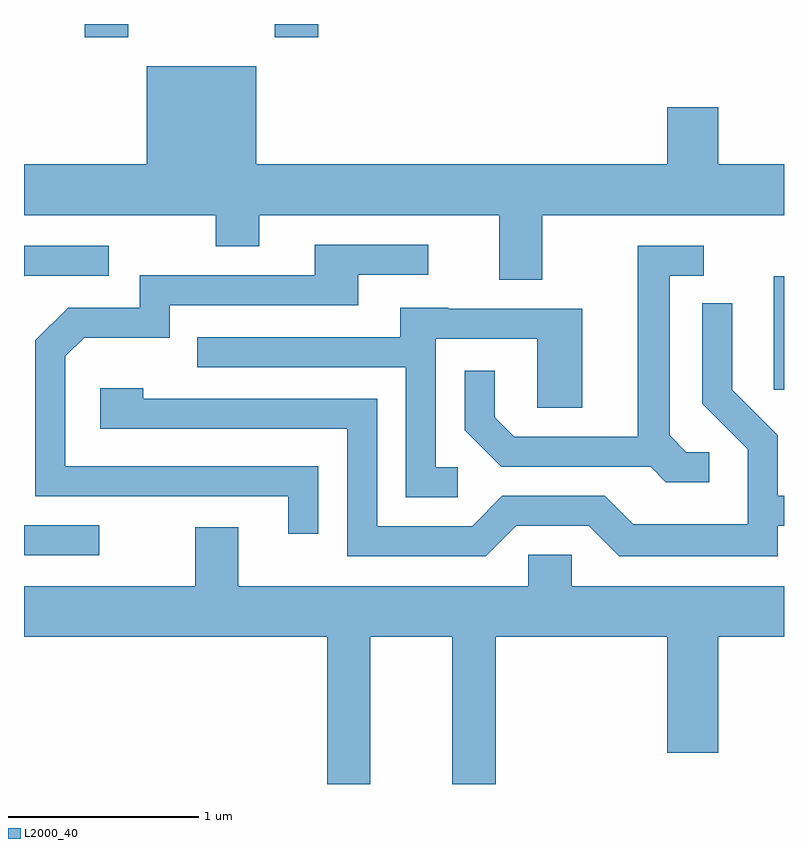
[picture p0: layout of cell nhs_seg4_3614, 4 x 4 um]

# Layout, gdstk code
import gdstk
lib = gdstk.Library(unit=1e-6, precision=1e-09)
def R(c, l, rs):  # rectangles x0, y0, x1, y1
    for r in rs: c.add(gdstk.rectangle(r[:2], r[2:], *l))
def P(c, l, *ps):  # polygons
    for p in ps: c.add(gdstk.Polygon(p, *l))
L2000_40 = (2000, 40)

nhs_seg4_3614 = lib.new_cell('nhs_seg4_3614')
R(nhs_seg4_3614, L2000_40, [(291.611,1275.186,292.008,1275.344), (295.556,1276.056,295.611,1276.654), (291.931,1277.911,292.159,1277.982), (292.931,1277.911,293.159,1277.982)])
P(nhs_seg4_3614, L2000_40, [(294.339,1276.976),(295.611,1276.976),(295.611,1277.244),(295.264,1277.244),(295.264,1277.544),(294.996,1277.544),(294.996,1277.244),(292.834,1277.244),(292.834,1277.759),(292.256,1277.759),(292.256,1277.244),(291.611,1277.244),(291.611,1276.976),(292.621,1276.976),(292.621,1276.811),(292.849,1276.811),(292.849,1276.976),(294.111,1276.976),(294.111,1276.636),(294.339,1276.636)],
  [(293.159,1275.654),(291.829,1275.654),(291.829,1276.234),(291.927,1276.331),(292.379,1276.331),(292.379,1276.501),(293.369,1276.501),(293.369,1276.661),(293.738,1276.661),(293.738,1276.819),(293.141,1276.819),(293.141,1276.659),(292.221,1276.659),(292.221,1276.489),(291.844,1276.489),(291.671,1276.317),(291.671,1275.496),(293.001,1275.496),(293.001,1275.298),(293.159,1275.298)],
  [(295.218,1275.729),(295.097,1275.729),(295.009,1275.817),(295.009,1276.656),(295.188,1276.656),(295.188,1276.814),(294.841,1276.814),(294.841,1275.809),(294.192,1275.809),(294.089,1275.912),(294.089,1276.158),(293.931,1276.158),(293.931,1275.844),(294.124,1275.651),(294.909,1275.651),(294.989,1275.571),(295.218,1275.571)],
  [(291.612,1276.656),(292.058,1276.656),(292.058,1276.814),(291.611,1276.814),(291.611,1276.655)],
  [(294.202,1275.341),(294.584,1275.341),(294.744,1275.181),(295.579,1275.181),(295.579,1275.341),(295.611,1275.341),(295.611,1275.499),(295.579,1275.499),(295.579,1275.817),(295.339,1276.057),(295.339,1276.513),(295.181,1276.513),(295.181,1275.984),(295.421,1275.744),(295.421,1275.349),(294.817,1275.349),(294.667,1275.499),(294.129,1275.499),(293.969,1275.339),(293.469,1275.339),(293.469,1276.009),(292.239,1276.009),(292.239,1276.064),(292.011,1276.064),(292.011,1275.851),(293.311,1275.851),(293.311,1275.181),(294.042,1275.181)],
  [(293.893,1275.649),(293.779,1275.649),(293.779,1276.326),(294.311,1276.326),(294.311,1275.961),(294.549,1275.961),(294.549,1276.484),(293.845,1276.484),(293.845,1276.489),(293.591,1276.489),(293.591,1276.334),(292.523,1276.334),(292.523,1276.176),(293.621,1276.176),(293.621,1275.491),(293.893,1275.491)],
  [(293.434,1274.756),(293.866,1274.756),(293.866,1273.982),(294.094,1273.982),(294.094,1274.756),(294.996,1274.756),(294.996,1274.146),(295.264,1274.146),(295.264,1274.756),(295.611,1274.756),(295.611,1275.024),(294.494,1275.024),(294.494,1275.189),(294.266,1275.189),(294.266,1275.024),(292.739,1275.024),(292.739,1275.334),(292.511,1275.334),(292.511,1275.024),(291.611,1275.024),(291.611,1274.756),(293.206,1274.756),(293.206,1273.982),(293.434,1273.982)])

lib.write_gds('nhs_seg4_3614.gds')
